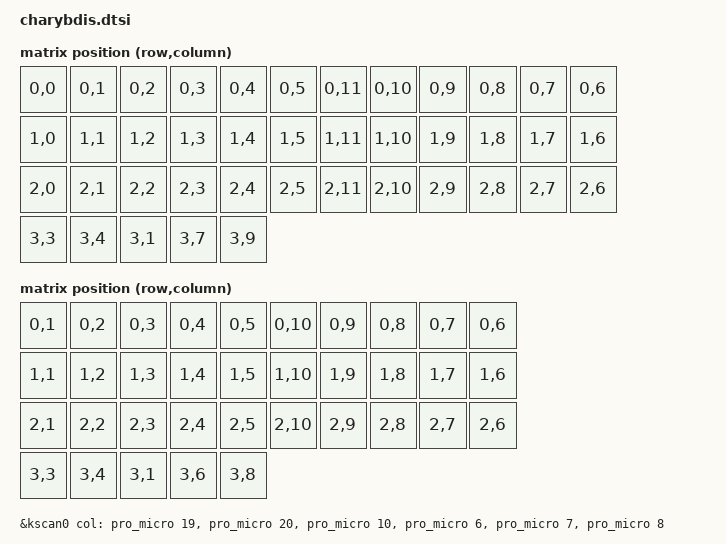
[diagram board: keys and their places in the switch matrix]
/dts-v1/;

/ {
    chosen {
        zmk,pointing-device = &trackball0;
    };

    &spi1 {               /* Шина, к которой подключён датчик */
        status = "okay";
        trackball0: pmw3360@0 {
            compatible = "zmk,trackball";  // Совместимость для ZMK
            reg = <0>;                     // CS = 0
            irq-gpios = <&gpio0 27 GPIO_ACTIVE_LOW>;  // Пин IRQ
            spi-max-frequency = <2000000>; // Максимальная частота SPI
            cpi = <800>;                   // Чувствительность (можно настроить)
            label = "TRACKBALL";           // Метка устройства
        };
    };

    &kscan0 {
        col-gpios
            = <&pro_micro 19 (GPIO_ACTIVE_HIGH | GPIO_PULL_DOWN)>
            , <&pro_micro 20 (GPIO_ACTIVE_HIGH | GPIO_PULL_DOWN)>
            , <&pro_micro 10 (GPIO_ACTIVE_HIGH | GPIO_PULL_DOWN)>
            , <&pro_micro 6 (GPIO_ACTIVE_HIGH | GPIO_PULL_DOWN)>
            , <&pro_micro 7 (GPIO_ACTIVE_HIGH | GPIO_PULL_DOWN)>
            , <&pro_micro 8 (GPIO_ACTIVE_HIGH | GPIO_PULL_DOWN)>;
    };

    &pinctrl {
        spi0_default: spi0_default {
            group1 {
                psels = <NRF_PSEL(SPIM_SCK, 1, 13)>,
                        <NRF_PSEL(SPIM_MOSI, 0, 10)>,
                        <NRF_PSEL(SPIM_MISO, 0, 10)>;
            };
        };

        spi0_sleep: spi0_sleep {
            group1 {
                psels = <NRF_PSEL(SPIM_SCK, 1, 13)>,
                        <NRF_PSEL(SPIM_MOSI, 0, 10)>,
                        <NRF_PSEL(SPIM_MISO, 0, 10)>;
                low-power-enable;
            };
        };
    };

    &spi1 {
        status = "okay";
        trackball0: pmw3360@0 {
            compatible = "zmk,trackball";  // Совместимость для ZMK
            reg = <0>;
            irq-gpios = <&gpio0 27 GPIO_ACTIVE_LOW>;
            spi-max-frequency = <2000000>;
            cpi = <800>;
            label = "TRACKBALL";           // Метка устройства
        };
    };

    /* Привязка к трекболу */
    trackball_listener {
        compatible = "zmk,input-listener";
        device = <&trackball0>;  // Привязка к trackball0
    };

    /* Параметры для питания */
    vbatt: vbatt {
        compatible = "zmk,battery-nrf-vddh";
    };

    /* Преобразования keymap */
    default_transform: keymap_transform_0 {
        compatible = "zmk,matrix-transform";
        columns = <12>;
        rows = <4>;
        map = <
            RC(0,0) RC(0,1) RC(0,2) RC(0,3) RC(0,4) RC(0,5) RC(0,11) RC(0,10) RC(0,9) RC(0,8) RC(0,7) RC(0,6)
            RC(1,0) RC(1,1) RC(1,2) RC(1,3) RC(1,4) RC(1,5) RC(1,11) RC(1,10) RC(1,9) RC(1,8) RC(1,7) RC(1,6)
            RC(2,0) RC(2,1) RC(2,2) RC(2,3) RC(2,4) RC(2,5) RC(2,11) RC(2,10) RC(2,9) RC(2,8) RC(2,7) RC(2,6)
            RC(3,3) RC(3,4) RC(3,1) RC(3,7) RC(3,9)
        >;
    };

    five_column_transform: keymap_transform_1 {
        compatible = "zmk,matrix-transform";
        columns = <10>;
        rows = <4>;
        map = <
            RC(0,1) RC(0,2) RC(0,3) RC(0,4) RC(0,5) RC(0,10) RC(0,9) RC(0,8) RC(0,7) RC(0,6)
            RC(1,1) RC(1,2) RC(1,3) RC(1,4) RC(1,5) RC(1,10) RC(1,9) RC(1,8) RC(1,7) RC(1,6)
            RC(2,1) RC(2,2) RC(2,3) RC(2,4) RC(2,5) RC(2,10) RC(2,9) RC(2,8) RC(2,7) RC(2,6)
            RC(3,3) RC(3,4) RC(3,1) RC(3,6) RC(3,8)
        >;
    };
};
